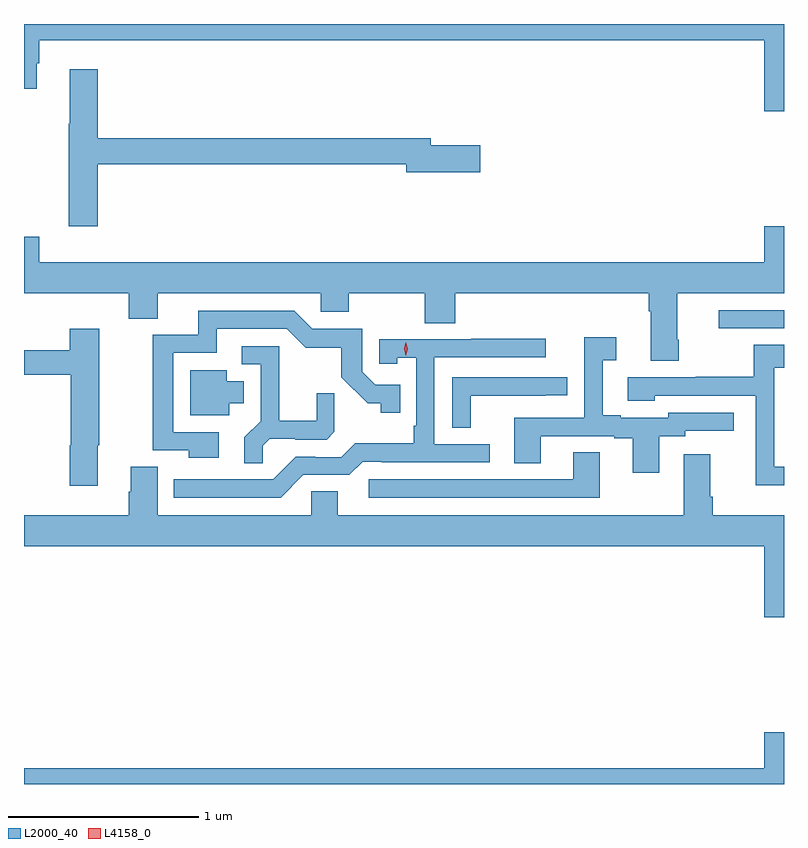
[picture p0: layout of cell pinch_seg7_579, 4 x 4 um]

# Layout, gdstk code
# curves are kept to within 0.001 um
import gdstk
lib = gdstk.Library(unit=1e-6, precision=1e-09)
def R(c, l, rs):  # rectangles x0, y0, x1, y1
    for r in rs: c.add(gdstk.rectangle(r[:2], r[2:], *l))
def P(c, l, *ps):  # polygons
    for p in ps: c.add(gdstk.Polygon(p, *l))
L2000_40 = (2000, 40)
L4158_0 = (4158, 0)

pinch_seg7_579 = lib.new_cell('pinch_seg7_579')
R(pinch_seg7_579, L2000_40, [(200.733,1027.071,201.076,1027.167)])
P(pinch_seg7_579, L2000_40, [(201.076,1028.673),(197.076,1028.673),(197.076,1028.332),(197.143,1028.332),(197.143,1028.466),(197.156,1028.466),(197.156,1028.588),(200.972,1028.588),(200.972,1028.214),(201.076,1028.214)],
  [(197.465,1027.936),(199.088,1027.936),(199.088,1027.894),(199.477,1027.894),(199.477,1028.036),(199.216,1028.036),(199.216,1028.072),(197.465,1028.072),(197.465,1028.434),(197.318,1028.434),(197.318,1028.149),(197.311,1028.149),(197.311,1027.608),(197.465,1027.608)],
  [(200.523,1027.012),(200.515,1027.012),(200.515,1027.256),(201.076,1027.256),(201.076,1027.609),(200.972,1027.609),(200.972,1027.42),(197.156,1027.42),(197.156,1027.553),(197.076,1027.553),(197.076,1027.256),(197.627,1027.256),(197.627,1027.123),(197.779,1027.123),(197.779,1027.256),(198.639,1027.256),(198.639,1027.158),(198.786,1027.158),(198.786,1027.256),(199.186,1027.256),(199.186,1027.099),(199.346,1027.099),(199.346,1027.256),(200.363,1027.256),(200.363,1027.16),(200.375,1027.16),(200.375,1026.9),(200.523,1026.9)],
  [(198.1,1026.525),(197.862,1026.525),(197.862,1026.942),(198.091,1026.942),(198.091,1027.068),(198.459,1027.068),(198.558,1026.97),(198.747,1026.97),(198.747,1026.814),(198.884,1026.677),(198.954,1026.677),(198.954,1026.627),(199.055,1026.627),(199.055,1026.774),(198.924,1026.774),(198.855,1026.843),(198.855,1027.068),(198.594,1027.068),(198.498,1027.164),(197.993,1027.164),(197.993,1027.038),(197.754,1027.038),(197.754,1026.429),(197.944,1026.429),(197.944,1026.389),(198.1,1026.389)],
  [(197.464,1026.455),(197.472,1026.455),(197.472,1027.069),(197.318,1027.069),(197.318,1026.955),(197.076,1026.955),(197.076,1026.826),(197.323,1026.826),(197.323,1026.455),(197.318,1026.455),(197.318,1026.243),(197.464,1026.243)],
  [(200.419,1026.504),(200.556,1026.504),(200.556,1026.531),(200.812,1026.531),(200.812,1026.627),(200.466,1026.627),(200.466,1026.6),(200.218,1026.6),(200.218,1026.613),(200.122,1026.613),(200.122,1026.904),(200.194,1026.904),(200.194,1027.024),(200.025,1027.024),(200.025,1026.6),(199.655,1026.6),(199.655,1026.361),(199.795,1026.361),(199.795,1026.504),(200.183,1026.504),(200.183,1026.492),(200.279,1026.492),(200.279,1026.312),(200.419,1026.312)],
  [(198.546,1026.3),(198.789,1026.3),(198.858,1026.369),(198.958,1026.369),(198.958,1026.366),(199.528,1026.366),(199.528,1026.462),(199.236,1026.462),(199.236,1026.918),(199.822,1026.918),(199.822,1027.017),(199.429,1027.017),(199.429,1027.014),(198.945,1027.014),(198.945,1026.885),(199.041,1026.885),(199.041,1026.917),(199.14,1026.917),(199.14,1026.559),(199.128,1026.559),(199.128,1026.466),(198.82,1026.466),(198.747,1026.393),(198.608,1026.393),(198.608,1026.396),(198.507,1026.396),(198.387,1026.276),(197.864,1026.276),(197.864,1026.18),(198.426,1026.18)],
  [(201.076,1026.343),(201.024,1026.343),(201.024,1026.865),(201.076,1026.865),(201.076,1026.986),(200.916,1026.986),(200.916,1026.816),(200.611,1026.816),(200.611,1026.813),(200.253,1026.813),(200.253,1026.689),(200.397,1026.689),(200.397,1026.717),(200.928,1026.717),(200.928,1026.485),(200.926,1026.485),(200.926,1026.245),(201.076,1026.245)],
  [(198.333,1026.452),(198.37,1026.489),(198.504,1026.489),(198.504,1026.486),(198.669,1026.486),(198.71,1026.527),(198.71,1026.729),(198.616,1026.729),(198.616,1026.586),(198.419,1026.586),(198.419,1026.978),(198.222,1026.978),(198.222,1026.882),(198.321,1026.882),(198.321,1026.583),(198.235,1026.497),(198.235,1026.361),(198.333,1026.361)],
  [(198.157,1026.677),(198.232,1026.677),(198.232,1026.793),(198.142,1026.793),(198.142,1026.85),(197.951,1026.85),(197.951,1026.614),(198.157,1026.614)],
  [(199.428,1026.717),(199.823,1026.717),(199.823,1026.718),(199.936,1026.718),(199.936,1026.813),(199.329,1026.813),(199.329,1026.547),(199.428,1026.547)],
  [(200.107,1026.419),(199.967,1026.419),(199.967,1026.276),(198.891,1026.276),(198.891,1026.18),(200.107,1026.18)],
  [(201.076,1026.088),(200.702,1026.088),(200.702,1026.184),(200.689,1026.184),(200.689,1026.409),(200.549,1026.409),(200.549,1026.088),(198.727,1026.088),(198.727,1026.215),(198.588,1026.215),(198.588,1026.088),(197.779,1026.088),(197.779,1026.344),(197.639,1026.344),(197.639,1026.21),(197.627,1026.21),(197.627,1026.088),(197.076,1026.088),(197.076,1025.924),(200.972,1025.924),(200.972,1025.55),(201.076,1025.55)],
  [(197.076,1024.673),(201.076,1024.673),(201.076,1024.945),(200.972,1024.945),(200.972,1024.756),(197.076,1024.756)])
P(pinch_seg7_579, L4158_0, [(199.086,1026.927),(199.086,1026.927),(199.076,1026.963),(199.086,1026.998),(199.086,1026.999),(199.086,1026.998),(199.096,1026.963),(199.086,1026.927)])

lib.write_gds('pinch_seg7_579.gds')
